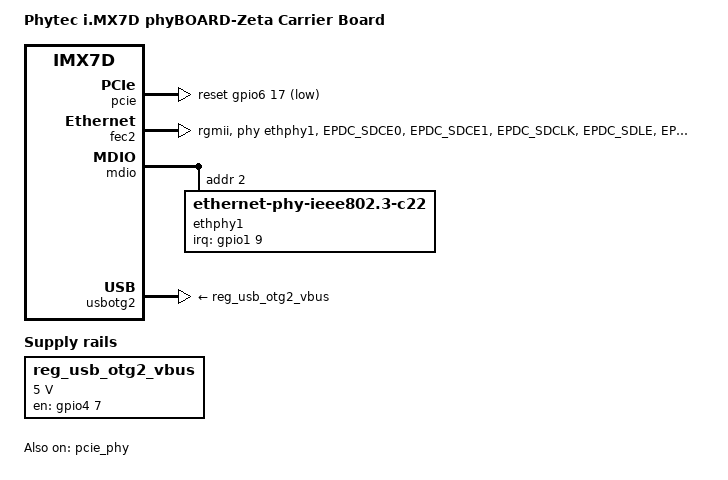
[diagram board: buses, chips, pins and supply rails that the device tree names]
/*
 * Copyright (C) 2015 PHYTEC America, LLC
 *
 * This program is free software; you can redistribute it and/or modify
 * it under the terms of the GNU General Public License version 2 as
 * published by the Free Software Foundation.
 *
 *
 * This file includes the dtsi for interfaces supported by imx7 Solo on
 * carrier board PBA-C-09, and configures additional interfaces only
 * supported by the iMX7 Dual.
 *
 */

#include "imx7s-pba-c-09.dtsi"

/ {
	model = "Phytec i.MX7D phyBOARD-Zeta Carrier Board";
	compatible = "phytec,imx7d-pba-c-09", "phytec,imx7-phycore-som", "fsl,imx7d";

	regulators {
		compatible = "simple-bus";
		#address-cells = <1>;
		#size-cells = <0>;

		reg_usb_otg2_vbus: regulator@1 {
			compatible = "regulator-fixed";
			reg = <1>;
			regulator-name = "usb_otg2_vbus";
			regulator-min-microvolt = <5000000>;
			regulator-max-microvolt = <5000000>;
			gpio = <&gpio4 7 GPIO_ACTIVE_HIGH>;
			enable-active-high;
		};
	};
};

&iomuxc {
	pinctrl-names = "default";
	pinctrl-0 = <&pinctrl_hog_1 &pinctrl_hog_2 &pinctrl_hog_lcd>;

	imx7d-phycore {
		pinctrl_hog_2: hoggrp-2 {
			fsl,pins = <
				MX7D_PAD_SD1_CD_B__GPIO5_IO0		0x59 /* SD1 CD */
				MX7D_PAD_SD1_WP__GPIO5_IO1		0x59 /* PCIe Disable */
				MX7D_PAD_SAI1_RX_BCLK__GPIO6_IO17	0x59 /* PCIe Reset */
				MX7D_PAD_UART3_CTS_B__GPIO4_IO7		0x14 /* USB2 pwr */
				MX7D_PAD_GPIO1_IO09__GPIO1_IO9 		0x59 /* ETH2 Int_N */
				MX7D_PAD_EPDC_PWR_COM__GPIO2_IO30	0x59 /* ETH2 Reset_n */
				MX7D_PAD_EPDC_DATA10__GPIO2_IO10	0x59 /* User Button */
				MX7D_PAD_EPDC_DATA13__GPIO2_IO13	0x39 /* Boot Circuit Buffer Enable
										5K pull-up  */
			>;
		};

		pinctrl_enet2: enet2grp {
			fsl,pins = <
				MX7D_PAD_EPDC_SDCE0__ENET2_RGMII_RX_CTL	0x5
				MX7D_PAD_EPDC_SDCE1__ENET2_RGMII_RXC 	0x5
				MX7D_PAD_EPDC_SDCLK__ENET2_RGMII_RD0	0x5
				MX7D_PAD_EPDC_SDLE__ENET2_RGMII_RD1	0x5
				MX7D_PAD_EPDC_SDOE__ENET2_RGMII_RD2	0x5
				MX7D_PAD_EPDC_SDSHR__ENET2_RGMII_RD3	0x5
				MX7D_PAD_EPDC_SDCE2__ENET2_RGMII_TD0	0x5
				MX7D_PAD_EPDC_SDCE3__ENET2_RGMII_TD1	0x5
				MX7D_PAD_EPDC_GDCLK__ENET2_RGMII_TD2	0x5
				MX7D_PAD_EPDC_GDOE__ENET2_RGMII_TD3	0x5
				MX7D_PAD_EPDC_GDRL__ENET2_RGMII_TX_CTL	0x5
				MX7D_PAD_EPDC_GDSP__ENET2_RGMII_TXC	0x5
			>;
		};
	};
};

&pcie {
	pinctrl-names = "default";
	reset-gpio = <&gpio6 17  GPIO_ACTIVE_LOW>;
	disable-gpio = <&gpio5 1 GPIO_ACTIVE_LOW>;
	ext_osc = <0>; /* Using internal osc. Set to 1 for external osc */
	status = "okay";
};

&pcie_phy {
	status = "okay";
};

&fec2 {
	pinctrl-names = "default";
	pinctrl-0 = <&pinctrl_enet2>;
	assigned-clocks = <&clks IMX7D_ENET2_TIME_ROOT_SRC>,
			<&clks IMX7D_ENET2_TIME_ROOT_CLK>;
	assigned-clock-parents = <&clks IMX7D_PLL_ENET_MAIN_100M_CLK>;
	assigned-clock-rates = <0>, <100000000>;
	phy-mode = "rgmii";
	phy-handle = <&ethphy1>;
	fsl,magic-packet;
	phy-reset-gpios = <&gpio2 30 GPIO_ACTIVE_LOW>;
	status = "okay";
};

/* same MDIO bus as PHY on phyCORE SOM */
&mdio {
	ethphy1: ethernet-phy@2 {
		compatible = "ethernet-phy-ieee802.3-c22";
		interrupt-parent = <&gpio1>;
		interrupts = <9 0>;
		reg = <2>;
		rxdv-skew-ps = <0>;
		txen-skew-ps = <0>;
		rxd0-skew-ps = <0>;
		rxd1-skew-ps = <0>;
		rxd2-skew-ps = <0>;
		rxd3-skew-ps = <0>;
		rxc-skew-ps = <1860>;
		txc-skew-ps = <1860>;
	};
};

&usbotg2 {
	vbus-supply = <&reg_usb_otg2_vbus>;
	status = "okay";
};
